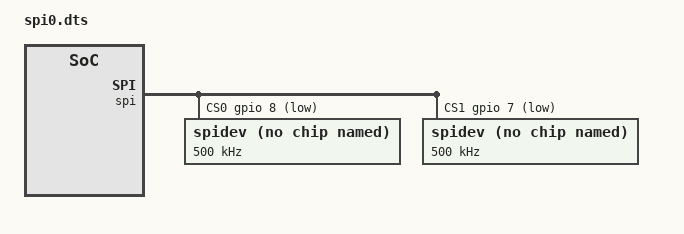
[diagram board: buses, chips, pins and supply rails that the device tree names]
/dts-v1/;
/plugin/;

/ {
	compatible = "raspberrypi";
	fragment@0 {
		target = <&spi>;
		__overlay__ {
			cs-gpios = <&gpio 8 1>, <&gpio 7 1>;
			status = "okay";
			pinctrl-names = "default";
			pinctrl-0 = <&spi0_pins &spi0_cs_pins>;
			#address-cells = <1>;
			#size-cells = <0>;
			spidev@0 {
				reg = <0>;	// CE0
				spi-max-frequency = <500000>;
				compatible = "spidev";
			};

			spidev@1 {
				reg = <1>;	// CE1
				spi-max-frequency = <500000>;
				compatible = "spidev";
			};
		};
	};
	fragment@1 {
		target = <&alt0>;
		__overlay__ {
			// Drop GPIO 7, SPI 8-11
			brcm,pins = <4 5>;
		};
	};

	fragment@2 {
		target = <&gpio>;
		__overlay__ {
			spi0_pins: spi0_pins {
				brcm,pins = <9 10 11>;
				brcm,function = <4>; // alt0
			};
			spi0_cs_pins: spi0_cs_pins {
				brcm,pins = <8 7>;
				brcm,function = <1>; // out
			};
		};
	};
};
